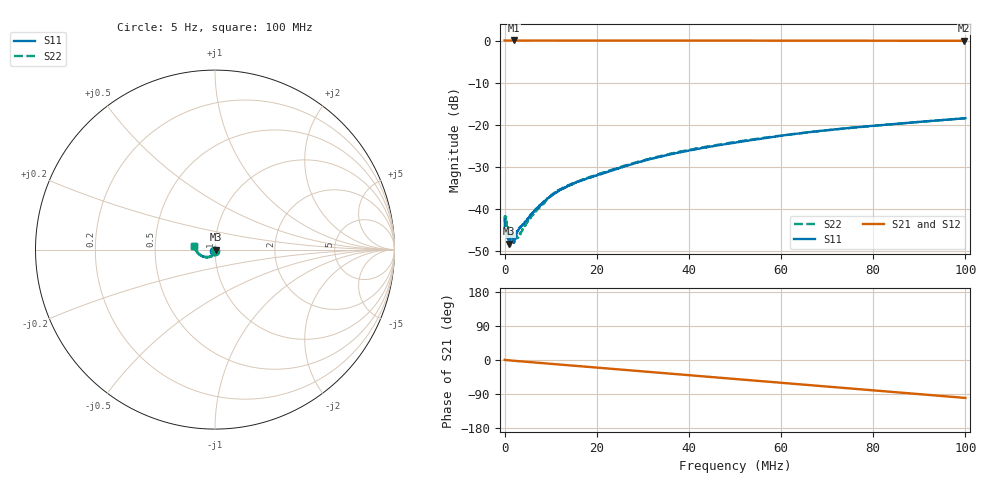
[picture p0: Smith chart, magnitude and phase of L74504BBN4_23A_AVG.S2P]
!Agilent Technologies,E5061B,MY49102235,A.02.00
!Date: Tue Jul 11 16:44:23 2023
!Data & Calibration Information:
!Freq	S11:SOLT2(ON)	S21:SOLT2(ON)	S12:SOLT2(ON)	S22:SOLT2(ON)
# Hz S RI R 50
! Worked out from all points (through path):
!   1600 points, 5 Hz to 100 MHz, reference 50 ohm
!   highest |S21| = 0.02 dB at 2.001 MHz (marker M1); lowest = -0.1 dB at 99.75 MHz (marker M2)
!   group delay of S21, straight-line fit = 2.78 ns
!   lowest |S11| = -48.2 dB at 1.001 MHz (marker M3), VSWR 1.01, Z = 50.4 - j0.0814 ohm
!   |S11| at or under -10 dB: start of sweep to end of sweep
!   |S22| runs from -48.8 to -18.5 dB; largest |S21 - S12| = 0.0029
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5  -0.00517 -0.00563  1.002 0.0079  1 0.0103  -0.0014 -0.00755
437778.6  0.00514 -0.000618  1.002 -0.0054  1.001 -0.0059  0.00662 -0.00226
625395.8  0.00508 -0.000646  1.002 -0.0106  1.002 -0.00992  0.00608 -0.00102
1000630  0.00379 -0.000808  1.001 -0.0165  1.001 -0.0158  0.00515 -0.00172
1563482  0.00435 -0.00294  1.001 -0.0264  1.001 -0.0253  0.00316 -0.00355
2001256  0.00305 -0.0029  1.002 -0.0351  1.001 -0.0345  0.00319 -0.00263
2376490  0.00332 -0.00308  0.9999 -0.0414  1 -0.0414  0.00396 -0.00275
3252037  0.00424 -0.00431  0.9995 -0.0568  0.9991 -0.0563  0.00316 -0.00382
4690436  0.00372 -0.00615  0.9978 -0.0819  0.9974 -0.0816  0.00345 -0.00582
6003757  0.0033 -0.00808  0.9956 -0.1048  0.9954 -0.1042  0.0029 -0.00794
9505946  0.00139 -0.0134  0.9872 -0.1657  0.9872 -0.1651  0.000859 -0.0135
1.163227e7  -0.000164 -0.0164  0.9805 -0.2021  0.9801 -0.2015  -0.00101 -0.0165
1.669794e7  -0.00408 -0.0215  0.9582 -0.288  0.958 -0.2873  -0.0044 -0.0216
2.582865e7  -0.0116 -0.0295  0.9004 -0.4365  0.9002 -0.436  -0.00953 -0.031
3.333334e7  -0.0207 -0.0357  0.8351 -0.5503  0.8349 -0.5497  -0.0194 -0.0371
4.033771e7  -0.0305 -0.0396  0.7612 -0.6478  0.7613 -0.6471  -0.03 -0.0409
5.003127e7  -0.0453 -0.0414  0.6409 -0.7667  0.6408 -0.766  -0.0455 -0.0427
6.672921e7  -0.075 -0.0348  0.3924 -0.917  0.3929 -0.9167  -0.0743 -0.0352
8.33646e7  -0.1 -0.0123  0.1135 -0.9894  0.1137 -0.9892  -0.0996 -0.0144
9.155722e7  -0.11 0.00312  -0.0288 -0.9943  -0.0285 -0.9941  -0.11 -0.000162
9.974984e7  -0.1177 0.0204  -0.1701 -0.9788  -0.1695 -0.9789  -0.1176 0.0173
1e8  -0.1178 0.0209  -0.1744 -0.9782  -0.1739 -0.9781  -0.118 0.018
